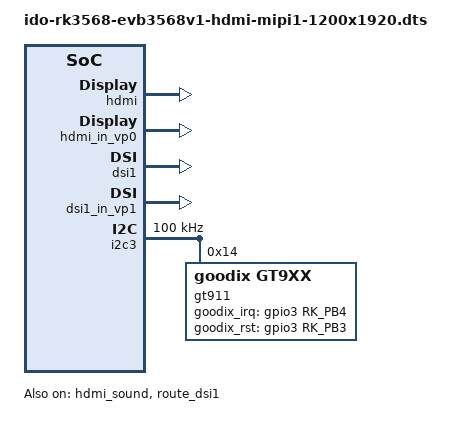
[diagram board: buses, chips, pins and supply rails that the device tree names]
#include "ido-rk3568-evb3568v1-mipi1-1200x1920.dts"

&hdmi {
	status = "okay";
};

&hdmi_in_vp0 {
	status = "okay";
};

&hdmi_in_vp1 {
	status = "disabled";
};

&route_hdmi {
	status = "disabled";
	connect = <&vp0_out_hdmi>;
};

&hdmi_sound {
	status = "okay";
};

&dsi1 {
	status = "okay";
};

&dsi1_in_vp0 {
	status = "disabled";
};

&dsi1_in_vp1 {
	status = "okay";
};

&route_dsi1 {
	status = "okay";
	connect = <&vp1_out_dsi1>;
};

&i2c3 {
	status = "okay";
	clock-frequency = <100000>;
	pinctrl-0 = <&i2c3m1_xfer>;

	gt911@14 {
		compatible = "goodix,gt9xx";
		reg = <0x14>;
		pinctrl-names = "default";
		pinctrl-0 = <&gtxx_gpio>;
		goodix_irq_gpio = <&gpio3 RK_PB4 IRQ_TYPE_LEVEL_LOW>;
		goodix_rst_gpio = <&gpio3 RK_PB3 GPIO_ACTIVE_HIGH>;
		touchscreen-inverted-y;
		touchscreen-swapped-x-y;
		status = "okay";
	};
};
